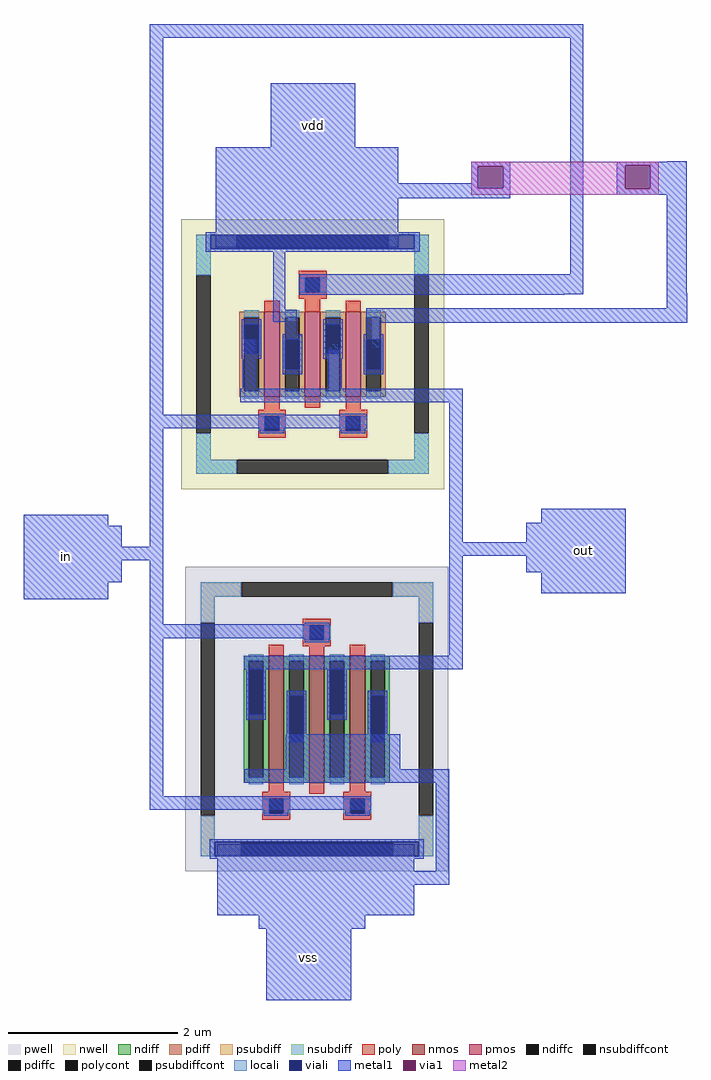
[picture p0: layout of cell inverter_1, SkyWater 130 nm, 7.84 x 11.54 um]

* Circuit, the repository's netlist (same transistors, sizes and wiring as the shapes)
** sch_path: /home/ananya/Desktop/Physical_verification/Lab1_inverter/xschem/inverter_1.sch
.subckt inverter_1 vdd in out vss
*.PININFO in:I out:O vdd:B vss:B
XM1 out in vss vss sky130_fd_pr__nfet_01v8 L=0.18 W=4.5 nf=3
XM2 out in vdd vdd sky130_fd_pr__pfet_01v8 L=0.18 W=3 nf=3
.ends

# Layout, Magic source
magic
tech sky130A
magscale 1 2
<< nwell >>
rect 1324 60 1352 122
rect 1316 44 1352 60
rect 1324 20 1352 44
<< pwell >>
rect 1366 -1104 1636 -1020
<< pdiff >>
rect 1558 -33 1584 -21
<< locali >>
rect 1396 34 1412 60
rect 1372 -42 1388 -17
rect 1562 -33 1588 -17
rect 1474 -104 1490 -96
rect 1468 -225 1490 -104
rect 1570 -106 1586 -33
<< metal1 >>
rect 1044 628 2069 660
rect 1044 -264 1076 628
rect 1330 368 1530 520
rect 1200 284 1632 368
rect 1804 324 1896 334
rect 1804 284 1820 324
rect 1200 272 1820 284
rect 1880 272 1896 324
rect 1200 248 1896 272
rect 1200 132 1632 248
rect 1336 -16 1364 122
rect 2038 68 2069 628
rect 2268 334 2314 336
rect 2148 326 2314 334
rect 2148 270 2168 326
rect 2228 270 2314 326
rect 2148 256 2314 270
rect 1398 21 2069 68
rect 2266 23 2314 256
rect 1398 20 2024 21
rect 2266 -12 2315 23
rect 1336 -44 1392 -16
rect 1364 -74 1392 -44
rect 1556 -46 2315 -12
rect 1264 -202 1296 -86
rect 1556 -87 1590 -46
rect 1466 -202 1498 -110
rect 1258 -234 1784 -202
rect 1044 -296 1558 -264
rect 746 -526 946 -500
rect 746 -576 978 -526
rect 1044 -576 1076 -296
rect 746 -608 1076 -576
rect 746 -660 978 -608
rect 746 -700 946 -660
rect 1044 -760 1076 -608
rect 1752 -566 1784 -234
rect 1970 -520 2170 -486
rect 1934 -566 2170 -520
rect 1752 -598 2170 -566
rect 1044 -792 1470 -760
rect 1044 -1166 1076 -792
rect 1752 -834 1784 -598
rect 1934 -636 2170 -598
rect 1970 -686 2170 -636
rect 1266 -866 1784 -834
rect 1366 -1102 1636 -1020
rect 1268 -1134 1752 -1102
rect 1044 -1198 1568 -1166
rect 1204 -1344 1670 -1280
rect 1720 -1344 1752 -1134
rect 1204 -1376 1752 -1344
rect 1204 -1448 1670 -1376
rect 1302 -1480 1554 -1448
rect 1320 -1648 1520 -1480
<< via1 >>
rect 1820 272 1880 324
rect 2168 270 2228 326
<< metal2 >>
rect 1804 326 2248 334
rect 1804 324 2168 326
rect 1804 272 1820 324
rect 1880 272 2168 324
rect 1804 270 2168 272
rect 2228 270 2248 326
rect 1804 256 2248 270
use sky130_fd_pr__nfet_01v8_KBZXWL  XM1
transform 1 0 1439 0 1 -984
box -311 -360 311 360
use sky130_fd_pr__pfet_01v8_XQ58Y7  XM2
transform 1 0 1429 0 1 -121
box -311 -319 311 319
<< labels >>
flabel metal1 1970 -686 2170 -486 0 FreeSans 1600 0 0 0 out
port 2 nsew
flabel metal1 1320 -1648 1520 -1448 0 FreeSans 1600 0 0 0 vss
port 3 nsew
flabel metal1 746 -700 946 -500 0 FreeSans 1600 0 0 0 in
port 1 nsew
flabel metal1 1330 320 1530 520 0 FreeSans 1600 0 0 0 vdd
port 0 nsew
<< end >>

# cell sky130_fd_pr__nfet_01v8_KBZXWL: kit device sky130_fd_pr__nfet_01v8, w 1.5 l 0.18 m 1 nf 3 diffcov 100 polycov 100 guard 1 glc 1 grc 1 gtc 1 gbc 1 tbcov 100 rlcov 100 topc 1 botc 1 poverlap 0 doverlap 1 lmin 0.15 wmin 0.42 class mosfet compatible {sky130_fd_pr__nfet_01v8 sky130_fd_pr__nfet_01v8_lvt sky130_fd_bs_flash__special_sonosfet_star sky130_fd_pr__nfet_g5v0d10v5 sky130_fd_pr__nfet_05v0_nvt sky130_fd_pr__nfet_03v3_nvt} full_metal 1 conn_gates 0 viasrc 40 viadrn -40 viagate 100 viagb 100 viagr 0 viagl 0 viagt 0 doports 1

# cell sky130_fd_pr__pfet_01v8_XQ58Y7: kit device sky130_fd_pr__pfet_01v8, w 1.0 l 0.18 m 1 nf 3 diffcov 100 polycov 100 guard 1 glc 1 grc 1 gtc 1 gbc 1 tbcov 100 rlcov 100 topc 1 botc 1 poverlap 0 doverlap 1 lmin 0.15 wmin 0.42 class mosfet compatible {sky130_fd_pr__pfet_01v8 sky130_fd_pr__pfet_01v8_lvt sky130_fd_pr__pfet_01v8_hvt sky130_fd_pr__pfet_g5v0d10v5} full_metal 1 conn_gates 0 viasrc 40 viadrn -40 viagate 100 viagb 0 viagr 0 viagl 0 viagt 100 doports 1
